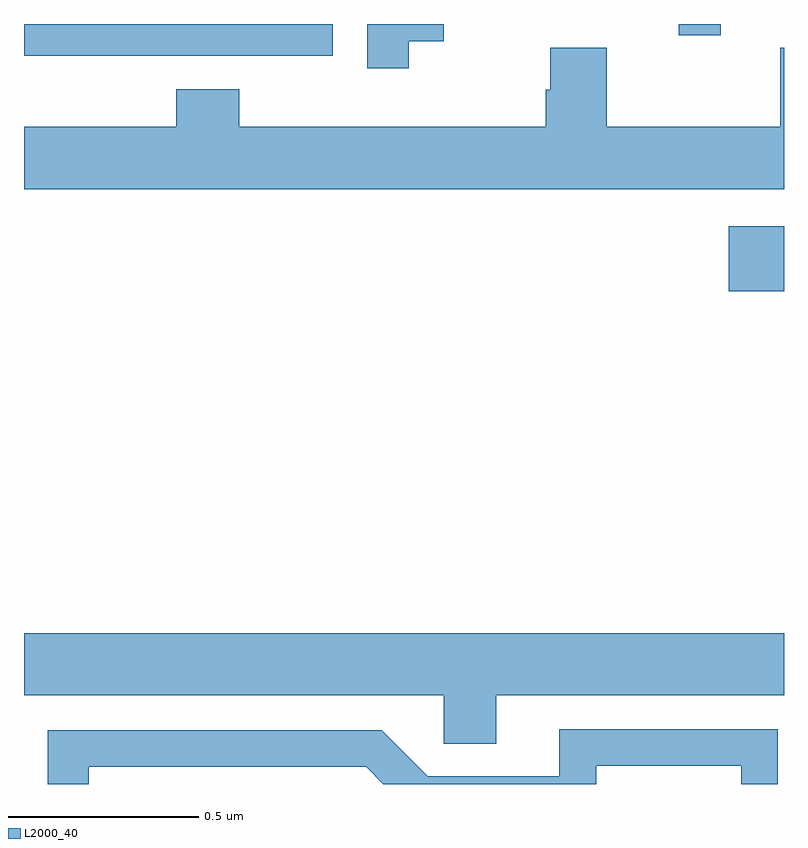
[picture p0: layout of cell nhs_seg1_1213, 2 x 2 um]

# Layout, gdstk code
import gdstk
lib = gdstk.Library(unit=1e-6, precision=1e-09)
def R(c, l, rs):  # rectangles x0, y0, x1, y1
    for r in rs: c.add(gdstk.rectangle(r[:2], r[2:], *l))
def P(c, l, *ps):  # polygons
    for p in ps: c.add(gdstk.Polygon(p, *l))
L2000_40 = (2000, 40)

nhs_seg1_1213 = lib.new_cell('nhs_seg1_1213')
R(nhs_seg1_1213, L2000_40, [(127.854,519.496,128,519.667), (127.723,520.17,127.834,520.199)])
P(nhs_seg1_1213, L2000_40, [(127.012,520.153),(127.104,520.153),(127.104,520.199),(126.903,520.199),(126.903,520.083),(127.012,520.083)],
  [(126.317,520.116),(126.813,520.116),(126.813,520.199),(126,520.199),(126,520.115),(126.317,520.115)],
  [(128,520.136),(127.99,520.136),(127.99,519.928),(127.533,519.928),(127.533,520.136),(127.385,520.136),(127.385,520.026),(127.373,520.026),(127.373,519.928),(126.566,519.928),(126.566,520.027),(126.401,520.027),(126.401,519.928),(126,519.928),(126,519.764),(128,519.764)],
  [(127.243,518.432),(128,518.432),(128,518.596),(126,518.596),(126,518.432),(127.104,518.432),(127.104,518.305),(127.243,518.305)],
  [(126.171,518.244),(126.9,518.244),(126.945,518.199),(127.506,518.199),(127.506,518.247),(127.887,518.247),(127.887,518.199),(127.983,518.199),(127.983,518.343),(127.409,518.343),(127.409,518.22),(127.062,518.22),(126.942,518.34),(126.063,518.34),(126.063,518.199),(126.171,518.199)])

lib.write_gds('nhs_seg1_1213.gds')
